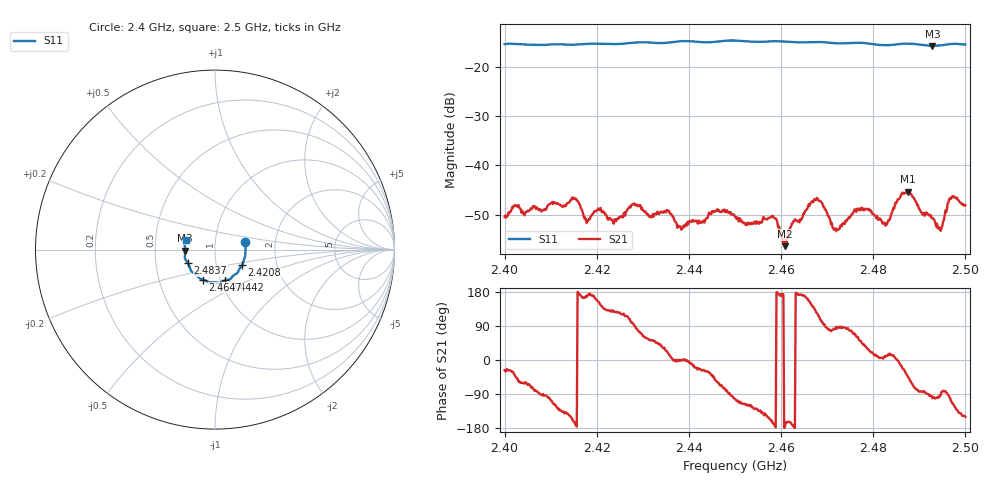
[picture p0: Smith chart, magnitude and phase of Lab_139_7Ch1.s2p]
# Hz S RI R 50
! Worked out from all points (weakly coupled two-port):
!   601 points, 2.4 GHz to 2.5 GHz, reference 50 ohm
!   highest |S21| = -45.32 dB at 2.4875 GHz (marker M1); lowest = -56.4 dB at 2.4608 GHz (marker M2)
!   lowest |S11| = -15.6 dB at 2.4928 GHz (marker M3), VSWR 1.40, Z = 35.8 - j0.371 ohm
!   |S11| at or under -10 dB: start of sweep to end of sweep
!   S12 and S22 are empty: the file has one direction only
!   S11 on the Smith chart (normalised r, x): 2.4 GHz: 1.40, +0.12; 2.4208 GHz: 1.33, -0.24; 2.4442 GHz: 1.05, -0.37; 2.4647 GHz: 0.83, -0.29; 2.4837 GHz: 0.73, -0.11; 2.5 GHz: 0.72, +0.08
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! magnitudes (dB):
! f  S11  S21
! 2.4 GHz  -15.3  -50.5
! 2.415 GHz  -15.4  -46.6
! 2.4167 GHz  -15.2  -48.9
! 2.4208 GHz  -15.2  -48.6
! 2.4333 GHz  -15.0  -49.8
! 2.438 GHz  -14.7  -52.5
! 2.4442 GHz  -14.9  -50.3
! 2.45 GHz  -14.5  -50.5
! 2.4585 GHz  -14.7  -50.7
! 2.4608 GHz  -14.8  -56.4
! 2.4647 GHz  -14.9  -50.5
! 2.4667 GHz  -14.8  -47.3
! 2.4683 GHz  -14.8  -47.3
! 2.4718 GHz  -15.1  -52.8
! 2.477 GHz  -15.0  -48.8
! 2.4833 GHz  -15.5  -51.1
! 2.4837 GHz  -15.4  -50.8
! 2.4875 GHz  -15.2  -45.3
! 2.4928 GHz  -15.6  -50.7
! 2.4945 GHz  -15.5  -53.1
! 2.497 GHz  -15.2  -46.4
! 2.5 GHz  -15.3  -48.1
